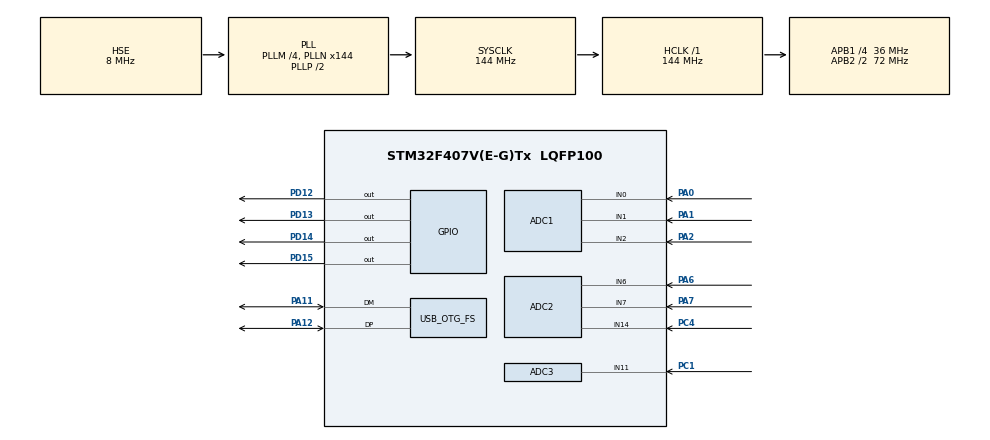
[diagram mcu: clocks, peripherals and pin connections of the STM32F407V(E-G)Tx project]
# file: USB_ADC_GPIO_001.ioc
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ADC1.Channel-2\#ChannelRegularConversion=ADC_CHANNEL_0
ADC1.ClockPrescaler=ADC_CLOCK_SYNC_PCLK_DIV4
ADC1.NbrOfConversionFlag=1
ADC1.Rank-2\#ChannelRegularConversion=1
ADC1.SamplingTime-2\#ChannelRegularConversion=ADC_SAMPLETIME_3CYCLES
ADC1.master=1
ADC2.Channel-2\#ChannelRegularConversion=ADC_CHANNEL_6
ADC2.ClockPrescaler=ADC_CLOCK_SYNC_PCLK_DIV4
ADC2.NbrOfConversionFlag=1
ADC2.Rank-2\#ChannelRegularConversion=1
ADC2.SamplingTime-2\#ChannelRegularConversion=ADC_SAMPLETIME_3CYCLES
ADC3.Channel-2\#ChannelRegularConversion=ADC_CHANNEL_11
ADC3.ClockPrescaler=ADC_CLOCK_SYNC_PCLK_DIV4
ADC3.NbrOfConversionFlag=1
ADC3.Rank-2\#ChannelRegularConversion=1
ADC3.SamplingTime-2\#ChannelRegularConversion=ADC_SAMPLETIME_3CYCLES
Mcu.Family=STM32F4
Mcu.Name=STM32F407V(E-G)Tx
Mcu.Package=LQFP100
NVIC.OTG_FS_IRQn=true\:0\:0\:false\:false\:true\:false\:true
NVIC.PriorityGroup=NVIC_PRIORITYGROUP_4
NVIC.TIM2_IRQn=true\:0\:0\:false\:false\:true\:true\:true
PA0-WKUP.Signal=ADCx_IN0
PA1.Signal=ADCx_IN1
PA11.Mode=Device_Only
PA11.Signal=USB_OTG_FS_DM
PA12.Mode=Device_Only
PA12.Signal=USB_OTG_FS_DP
PA2.Signal=ADCx_IN2
PA6.Signal=ADCx_IN6
PA7.Signal=ADCx_IN7
PC1.Signal=ADCx_IN11
PC4.Signal=ADCx_IN14
PD12.Signal=GPIO_Output
PD13.Signal=GPIO_Output
PD14.Signal=GPIO_Output
PD15.Signal=GPIO_Output
PH0-OSC_IN.Mode=HSE-External-Oscillator
PH0-OSC_IN.Signal=RCC_OSC_IN
PH1-OSC_OUT.Mode=HSE-External-Oscillator
PH1-OSC_OUT.Signal=RCC_OSC_OUT
ProjectManager.HeapSize=0x200
ProjectManager.StackSize=0x400
ProjectManager.TargetToolchain=STM32CubeIDE
RCC.48MHZClocksFreq_Value=48000000
RCC.AHBFreq_Value=144000000
RCC.APB1CLKDivider=RCC_HCLK_DIV4
RCC.APB1Freq_Value=36000000
RCC.APB1TimFreq_Value=72000000
RCC.APB2CLKDivider=RCC_HCLK_DIV2
RCC.APB2Freq_Value=72000000
RCC.APB2TimFreq_Value=144000000
RCC.CortexFreq_Value=144000000
RCC.HCLKFreq_Value=144000000
RCC.HSE_VALUE=8000000
RCC.HSI_VALUE=16000000
RCC.LSE_VALUE=32768
RCC.PLLM=4
RCC.PLLN=144
RCC.PLLQ=6
RCC.SYSCLKFreq_VALUE=144000000
RCC.SYSCLKSource=RCC_SYSCLKSOURCE_PLLCLK
RCC.VCOOutputFreq_Value=288000000
SH.ADCx_IN0.0=ADC1_IN0,IN0
SH.ADCx_IN1.0=ADC1_IN1,IN1
SH.ADCx_IN11.0=ADC3_IN11,IN11
SH.ADCx_IN14.0=ADC2_IN14,IN14
SH.ADCx_IN2.0=ADC1_IN2,IN2
SH.ADCx_IN6.0=ADC2_IN6,IN6
SH.ADCx_IN7.0=ADC2_IN7,IN7
TIM2.Period=1
TIM2.Prescaler=3600-1
USB_DEVICE.CLASS_NAME_FS=CDC
USB_DEVICE.MANUFACTURER_STRING-CDC_FS=Green Foxes
USB_DEVICE.PRODUCT_STRING_CDC_FS=Veresk 001
USB_DEVICE.VirtualMode-CDC_FS=Cdc
USB_DEVICE.VirtualModeFS=Cdc_FS
USB_OTG_FS.VirtualMode=Device_Only
VP_TIM2_VS_ClockSourceINT.Mode=Internal
VP_USB_DEVICE_VS_USB_DEVICE_CDC_FS.Mode=CDC_FS
board=custom

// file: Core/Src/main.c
/* USER CODE BEGIN Header */
/**
  ******************************************************************************
  * @file           : main.c
  * @brief          : Main program body
  ******************************************************************************
  * @attention
  *
  * <h2><center>&copy; Copyright (c) 2022 STMicroelectronics.
  * All rights reserved.</center></h2>
  *
  * This software component is licensed by ST under BSD 3-Clause license,
  * the "License"; You may not use this file except in compliance with the
  * License. You may obtain a copy of the License at:
  *                        opensource.org/licenses/BSD-3-Clause
  *
  ******************************************************************************
  */
/* USER CODE END Header */
#include "main.h"
#include "usb_device.h"

/* USER CODE BEGIN Includes */
#include "usbd_cdc_if.h"
#include "string.h"

#include "Data_Acquisition_Module.h"

/* USER CODE END Includes */

ADC_HandleTypeDef hadc1;
ADC_HandleTypeDef hadc2;
ADC_HandleTypeDef hadc3;

TIM_HandleTypeDef htim2;

/* USER CODE BEGIN PV */

s_Tx_Parameters Tx_Parameters;
s_Rx_Parameters Rx_Parameters;
s_ADC stm32ADC;
s_System Sys;

uint8_t Rx_Buf[RX_BUF_SZ];
uint8_t Tx_Buf[TX_BUF_SZ];

int FLAG_New_Data_Received = 0;

/* USER CODE END PV */

void SystemClock_Config(void);
static void MX_GPIO_Init(void);
static void MX_ADC2_Init(void);
static void MX_ADC3_Init(void);
static void MX_ADC1_Init(void);
static void MX_TIM2_Init(void);

/* USER CODE BEGIN 0 */

char* USB_Tx = "Good morning! Drink one more U-ja-cha!\n";

int Timer2_Count = 0;

//uint8_t USB_Rx_Buf[128];
/* USER CODE END 0 */

int main(void)
{

  /* MCU Configuration--------------------------------------------------------*/

  /* Reset of all peripherals, Initializes the Flash interface and the Systick. */
  HAL_Init();

  /* Configure the system clock */
  SystemClock_Config();

  /* Initialize all configured peripherals */
  MX_GPIO_Init();
  MX_ADC1_Init();
  MX_ADC2_Init();
  MX_ADC3_Init();
  MX_USB_DEVICE_Init();
  MX_TIM2_Init();
  /* USER CODE BEGIN 2 */
  HAL_TIM_Base_Start_IT(&htim2);

  HAL_GPIO_WritePin (GPIOD, GPIO_PIN_13, 1);

  uint8_t State;
  State = 0;
  /* USER CODE END 2 */

  /* Infinite loop */
  /* USER CODE BEGIN WHILE */

  Initialize_System(&Sys);
  Initialize_System2(&Rx_Parameters);

  while (1)
  {
	  int k;
	  for(k = 0; k < 1000000; k++){
		  k ++;
		  k --;
	  }
	  State = State ? 0: 1;
//	  HAL_GPIO_WritePin (GPIOD, GPIO_PIN_13, State);

//	  CDC_Transmit_FS((uint8_t *)USB_Tx, strlen(USB_Tx));
    /* USER CODE END WHILE */

  }
}

void SystemClock_Config(void)
{
  RCC_OscInitTypeDef RCC_OscInitStruct = {0};
  RCC_ClkInitTypeDef RCC_ClkInitStruct = {0};

  /** Configure the main internal regulator output voltage
  */
  __HAL_RCC_PWR_CLK_ENABLE();
  __HAL_PWR_VOLTAGESCALING_CONFIG(PWR_REGULATOR_VOLTAGE_SCALE1);
  /** Initializes the RCC Oscillators according to the specified parameters
  * in the RCC_OscInitTypeDef structure.
  */
  RCC_OscInitStruct.OscillatorType = RCC_OSCILLATORTYPE_HSE;
  RCC_OscInitStruct.HSEState = RCC_HSE_ON;
  RCC_OscInitStruct.PLL.PLLState = RCC_PLL_ON;
  RCC_OscInitStruct.PLL.PLLSource = RCC_PLLSOURCE_HSE;
  RCC_OscInitStruct.PLL.PLLM = 4;
  RCC_OscInitStruct.PLL.PLLN = 144;
  RCC_OscInitStruct.PLL.PLLP = RCC_PLLP_DIV2;
  RCC_OscInitStruct.PLL.PLLQ = 6;
  if (HAL_RCC_OscConfig(&RCC_OscInitStruct) != HAL_OK)
  {
    Error_Handler();
  }
  /** Initializes the CPU, AHB and APB buses clocks
  */
  RCC_ClkInitStruct.ClockType = RCC_CLOCKTYPE_HCLK|RCC_CLOCKTYPE_SYSCLK
                              |RCC_CLOCKTYPE_PCLK1|RCC_CLOCKTYPE_PCLK2;
  RCC_ClkInitStruct.SYSCLKSource = RCC_SYSCLKSOURCE_PLLCLK;
  RCC_ClkInitStruct.AHBCLKDivider = RCC_SYSCLK_DIV1;
  RCC_ClkInitStruct.APB1CLKDivider = RCC_HCLK_DIV4;
  RCC_ClkInitStruct.APB2CLKDivider = RCC_HCLK_DIV2;

  if (HAL_RCC_ClockConfig(&RCC_ClkInitStruct, FLASH_LATENCY_4) != HAL_OK)
  {
    Error_Handler();
  }
}

static void MX_ADC1_Init(void)
{

  ADC_ChannelConfTypeDef sConfig = {0};

  /** Configure the global features of the ADC (Clock, Resolution, Data Alignment and number of conversion)
  */
  hadc1.Instance = ADC1;
  hadc1.Init.ClockPrescaler = ADC_CLOCK_SYNC_PCLK_DIV4;
  hadc1.Init.Resolution = ADC_RESOLUTION_12B;
  hadc1.Init.ScanConvMode = DISABLE;
  hadc1.Init.ContinuousConvMode = DISABLE;
  hadc1.Init.DiscontinuousConvMode = DISABLE;
  hadc1.Init.ExternalTrigConvEdge = ADC_EXTERNALTRIGCONVEDGE_NONE;
  hadc1.Init.ExternalTrigConv = ADC_SOFTWARE_START;
  hadc1.Init.DataAlign = ADC_DATAALIGN_RIGHT;
  hadc1.Init.NbrOfConversion = 1;
  hadc1.Init.DMAContinuousRequests = DISABLE;
  hadc1.Init.EOCSelection = ADC_EOC_SINGLE_CONV;
  if (HAL_ADC_Init(&hadc1) != HAL_OK)
  {
    Error_Handler();
  }
  /** Configure for the selected ADC regular channel its corresponding rank in the sequencer and its sample time.
  */
  sConfig.Channel = ADC_CHANNEL_0;
  sConfig.Rank = 1;
  sConfig.SamplingTime = ADC_SAMPLETIME_3CYCLES;
  if (HAL_ADC_ConfigChannel(&hadc1, &sConfig) != HAL_OK)
  {
    Error_Handler();
  }

}

static void MX_ADC2_Init(void)
{

  ADC_ChannelConfTypeDef sConfig = {0};

  /** Configure the global features of the ADC (Clock, Resolution, Data Alignment and number of conversion)
  */
  hadc2.Instance = ADC2;
  hadc2.Init.ClockPrescaler = ADC_CLOCK_SYNC_PCLK_DIV4;
  hadc2.Init.Resolution = ADC_RESOLUTION_12B;
  hadc2.Init.ScanConvMode = DISABLE;
  hadc2.Init.ContinuousConvMode = DISABLE;
  hadc2.Init.DiscontinuousConvMode = DISABLE;
  hadc2.Init.ExternalTrigConvEdge = ADC_EXTERNALTRIGCONVEDGE_NONE;
  hadc2.Init.ExternalTrigConv = ADC_SOFTWARE_START;
  hadc2.Init.DataAlign = ADC_DATAALIGN_RIGHT;
  hadc2.Init.NbrOfConversion = 1;
  hadc2.Init.DMAContinuousRequests = DISABLE;
  hadc2.Init.EOCSelection = ADC_EOC_SINGLE_CONV;
  if (HAL_ADC_Init(&hadc2) != HAL_OK)
  {
    Error_Handler();
  }
  /** Configure for the selected ADC regular channel its corresponding rank in the sequencer and its sample time.
  */
  sConfig.Channel = ADC_CHANNEL_6;
  sConfig.Rank = 1;
  sConfig.SamplingTime = ADC_SAMPLETIME_3CYCLES;
  if (HAL_ADC_ConfigChannel(&hadc2, &sConfig) != HAL_OK)
  {
    Error_Handler();
  }

}

static void MX_ADC3_Init(void)
{

  ADC_ChannelConfTypeDef sConfig = {0};

  /** Configure the global features of the ADC (Clock, Resolution, Data Alignment and number of conversion)
  */
  hadc3.Instance = ADC3;
  hadc3.Init.ClockPrescaler = ADC_CLOCK_SYNC_PCLK_DIV4;
  hadc3.Init.Resolution = ADC_RESOLUTION_12B;
  hadc3.Init.ScanConvMode = DISABLE;
  hadc3.Init.ContinuousConvMode = DISABLE;
  hadc3.Init.DiscontinuousConvMode = DISABLE;
  hadc3.Init.ExternalTrigConvEdge = ADC_EXTERNALTRIGCONVEDGE_NONE;
  hadc3.Init.ExternalTrigConv = ADC_SOFTWARE_START;
  hadc3.Init.DataAlign = ADC_DATAALIGN_RIGHT;
  hadc3.Init.NbrOfConversion = 1;
  hadc3.Init.DMAContinuousRequests = DISABLE;
  hadc3.Init.EOCSelection = ADC_EOC_SINGLE_CONV;
  if (HAL_ADC_Init(&hadc3) != HAL_OK)
  {
    Error_Handler();
  }
  /** Configure for the selected ADC regular channel its corresponding rank in the sequencer and its sample time.
  */
  sConfig.Channel = ADC_CHANNEL_11;
  sConfig.Rank = 1;
  sConfig.SamplingTime = ADC_SAMPLETIME_3CYCLES;
  if (HAL_ADC_ConfigChannel(&hadc3, &sConfig) != HAL_OK)
  {
    Error_Handler();
  }

}

static void MX_TIM2_Init(void)
{

  TIM_ClockConfigTypeDef sClockSourceConfig = {0};
  TIM_MasterConfigTypeDef sMasterConfig = {0};

  htim2.Instance = TIM2;
  htim2.Init.Prescaler = 3600-1;
  htim2.Init.CounterMode = TIM_COUNTERMODE_UP;
  htim2.Init.Period = 1;
  htim2.Init.ClockDivision = TIM_CLOCKDIVISION_DIV1;
  htim2.Init.AutoReloadPreload = TIM_AUTORELOAD_PRELOAD_DISABLE;
  if (HAL_TIM_Base_Init(&htim2) != HAL_OK)
  {
    Error_Handler();
  }
  sClockSourceConfig.ClockSource = TIM_CLOCKSOURCE_INTERNAL;
  if (HAL_TIM_ConfigClockSource(&htim2, &sClockSourceConfig) != HAL_OK)
  {
    Error_Handler();
  }
  sMasterConfig.MasterOutputTrigger = TIM_TRGO_RESET;
  sMasterConfig.MasterSlaveMode = TIM_MASTERSLAVEMODE_DISABLE;
  if (HAL_TIMEx_MasterConfigSynchronization(&htim2, &sMasterConfig) != HAL_OK)
  {
    Error_Handler();
  }

}

static void MX_GPIO_Init(void)
{
  GPIO_InitTypeDef GPIO_InitStruct = {0};

  /* GPIO Ports Clock Enable */
  __HAL_RCC_GPIOH_CLK_ENABLE();
  __HAL_RCC_GPIOC_CLK_ENABLE();
  __HAL_RCC_GPIOA_CLK_ENABLE();
  __HAL_RCC_GPIOD_CLK_ENABLE();

  /*Configure GPIO pin Output Level */
  HAL_GPIO_WritePin(GPIOD, GPIO_PIN_12|GPIO_PIN_13|GPIO_PIN_14|GPIO_PIN_15, GPIO_PIN_RESET);

  /*Configure GPIO pins : PD12 PD13 PD14 PD15 */
  GPIO_InitStruct.Pin = GPIO_PIN_12|GPIO_PIN_13|GPIO_PIN_14|GPIO_PIN_15;
  GPIO_InitStruct.Mode = GPIO_MODE_OUTPUT_PP;
  GPIO_InitStruct.Pull = GPIO_NOPULL;
  GPIO_InitStruct.Speed = GPIO_SPEED_FREQ_LOW;
  HAL_GPIO_Init(GPIOD, &GPIO_InitStruct);

}

/* USER CODE BEGIN 4 */
void HAL_TIM_PeriodElapsedCallback(TIM_HandleTypeDef *htim)
{
  if(htim->Instance == TIM2)
  {
//  	HAL_GPIO_WritePin (GPIOD, GPIO_PIN_12, Timer2_Count);;
  }
  Timer2_Count = Timer2_Count ? 0: 1;

  Timer_100us(&Rx_Parameters, (uint8_t*)&Rx_Buf,
  			&Sys, &stm32ADC, &Tx_Parameters, (uint8_t*)&Tx_Buf);

}
/* USER CODE END 4 */

void Error_Handler(void)
{
  __disable_irq();
  while (1)
  {
  }
}

/************************ (C) COPYRIGHT STMicroelectronics *****END OF FILE****/
